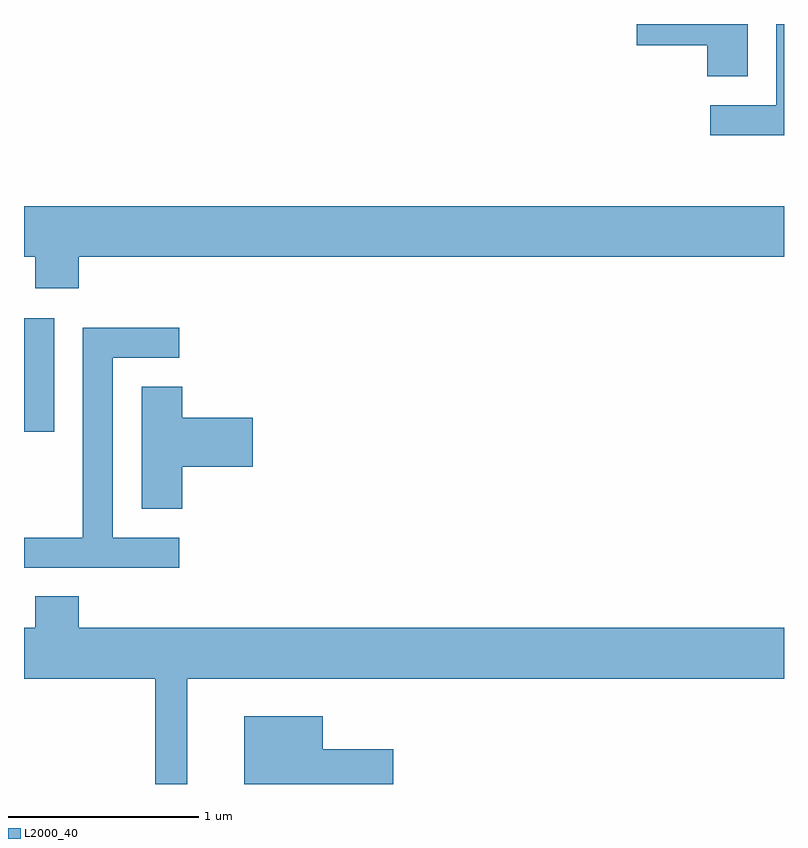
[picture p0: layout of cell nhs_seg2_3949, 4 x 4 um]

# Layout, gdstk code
import gdstk
lib = gdstk.Library(unit=1e-6, precision=1e-09)
def R(c, l, rs):  # rectangles x0, y0, x1, y1
    for r in rs: c.add(gdstk.rectangle(r[:2], r[2:], *l))
def P(c, l, *ps):  # polygons
    for p in ps: c.add(gdstk.Polygon(p, *l))
L2000_40 = (2000, 40)

nhs_seg2_3949 = lib.new_cell('nhs_seg2_3949')
R(nhs_seg2_3949, L2000_40, [(301.611,1009.656,301.769,1010.254)])
P(nhs_seg2_3949, L2000_40, [(305.611,1011.802),(305.571,1011.802),(305.571,1011.374),(305.223,1011.374),(305.223,1011.216),(305.611,1011.216)],
  [(305.419,1011.802),(304.836,1011.802),(304.836,1011.691),(305.206,1011.691),(305.206,1011.526),(305.419,1011.526)],
  [(301.899,1010.576),(305.611,1010.576),(305.611,1010.844),(301.611,1010.844),(301.611,1010.576),(301.671,1010.576),(301.671,1010.411),(301.899,1010.411)],
  [(302.428,1009.099),(302.079,1009.099),(302.079,1010.046),(302.428,1010.046),(302.428,1010.204),(301.921,1010.204),(301.921,1009.099),(301.611,1009.099),(301.611,1008.941),(302.428,1008.941)],
  [(302.444,1009.471),(302.814,1009.471),(302.814,1009.729),(302.444,1009.729),(302.444,1009.894),(302.231,1009.894),(302.231,1009.251),(302.444,1009.251)],
  [(302.469,1008.356),(305.611,1008.356),(305.611,1008.624),(301.899,1008.624),(301.899,1008.789),(301.671,1008.789),(301.671,1008.624),(301.611,1008.624),(301.611,1008.356),(302.301,1008.356),(302.301,1007.802),(302.469,1007.802)],
  [(303.554,1007.984),(303.184,1007.984),(303.184,1008.159),(302.771,1008.159),(302.771,1007.802),(303.554,1007.802)])

lib.write_gds('nhs_seg2_3949.gds')
